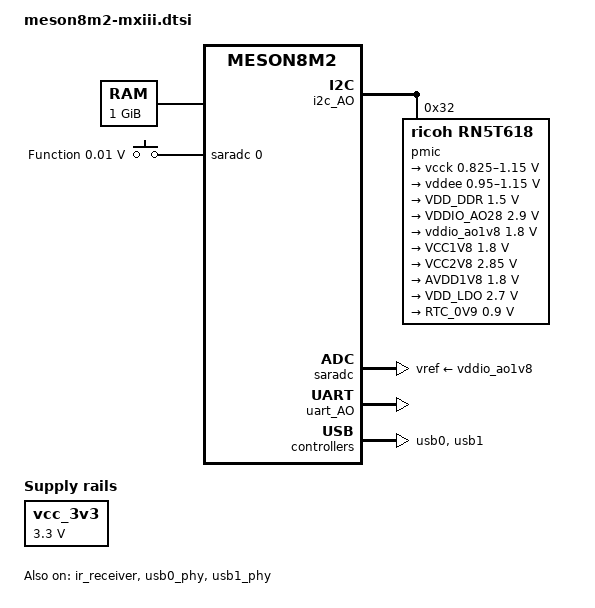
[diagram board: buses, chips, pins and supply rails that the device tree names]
// SPDX-License-Identifier: (GPL-2.0+ OR MIT)
/*
 * Copyright (c) 2018 Oleg Ivanov <balbes-150@yandex.ru>
 * Copyright (c) 2018 Martin Blumenstingl <martin.blumenstingl@googlemail.com>
 */

/dts-v1/;

#include "meson8m2.dtsi"

#include <dt-bindings/gpio/gpio.h>
#include <dt-bindings/input/input.h>

/ {
	aliases {
		ethernet0 = &ethmac;
		i2c0 = &i2c_AO;
		serial0 = &uart_AO;
	};

	chosen {
		stdout-path = "serial0:115200n8";
	};

	memory {
		reg = <0x40000000 0x40000000>;
		device_type = "memory";
	};

	adc-keys {
		compatible = "adc-keys";
		io-channels = <&saradc 0>;
		io-channel-names = "buttons";
		keyup-threshold-microvolt = <1710000>;

		button-function {
			label = "Function";
			linux,code = <KEY_FN>;
			press-threshold-microvolt = <10000>;
		};
	};

	vcc_3v3: regulator-vcc3v3 {
		compatible = "regulator-fixed";
		regulator-name = "VCC3V3";
		regulator-min-microvolt = <3300000>;
		regulator-max-microvolt = <3300000>;
	};
};

&cpu0 {
	cpu-supply = <&vcck>;
};

&ir_receiver {
	status = "okay";
	pinctrl-0 = <&ir_recv_pins>;
	pinctrl-names = "default";
};

&i2c_AO {
	status = "okay";
	pinctrl-0 = <&i2c_ao_pins>;
	pinctrl-names = "default";

	pmic@32 {
		compatible = "ricoh,rn5t618";
		reg = <0x32>;
		system-power-controller;

		regulators {
			vcck: DCDC1 {
				regulator-name = "VCCK";
				regulator-min-microvolt = <825000>;
				regulator-max-microvolt = <1150000>;
				regulator-boot-on;
				regulator-always-on;
			};

			vddee: DCDC2 {
				/* the output is also used as VDDAO */
				regulator-name = "VDD_EE";
				regulator-min-microvolt = <950000>;
				regulator-max-microvolt = <1150000>;
				regulator-boot-on;
				regulator-always-on;
			};

			DCDC3 {
				regulator-name = "VDD_DDR";
				regulator-min-microvolt = <1500000>;
				regulator-max-microvolt = <1500000>;
				regulator-boot-on;
				regulator-always-on;
			};

			LDO1 {
				regulator-name = "VDDIO_AO28";
				regulator-min-microvolt = <2900000>;
				regulator-max-microvolt = <2900000>;
				regulator-boot-on;
				regulator-always-on;
			};

			vddio_ao1v8: LDO2 {
				regulator-name = "VDDIO_AO18";
				regulator-min-microvolt = <1800000>;
				regulator-max-microvolt = <1800000>;
				regulator-boot-on;
				regulator-always-on;
			};

			LDO3 {
				regulator-name = "VCC1V8";
				regulator-min-microvolt = <1800000>;
				regulator-max-microvolt = <1800000>;
				regulator-boot-on;
				regulator-always-on;
			};

			LDO4 {
				regulator-name = "VCC2V8";
				regulator-min-microvolt = <2850000>;
				regulator-max-microvolt = <2850000>;
				regulator-boot-on;
				regulator-always-on;
			};

			LDO5 {
				regulator-name = "AVDD1V8";
				regulator-min-microvolt = <1800000>;
				regulator-max-microvolt = <1800000>;
				regulator-boot-on;
				regulator-always-on;
			};

			LDORTC1 {
				regulator-name = "VDD_LDO";
				regulator-min-microvolt = <2700000>;
				regulator-max-microvolt = <2700000>;
				regulator-boot-on;
				regulator-always-on;
			};

			LDORTC2 {
				regulator-name = "RTC_0V9";
				regulator-min-microvolt = <900000>;
				regulator-max-microvolt = <900000>;
				regulator-boot-on;
				regulator-always-on;
			};
		};
	};
};

&mali {
	mali-supply = <&vddee>;
};

&saradc {
	status = "okay";
	vref-supply = <&vddio_ao1v8>;
};

&uart_AO {
	status = "okay";
	pinctrl-0 = <&uart_ao_a_pins>;
	pinctrl-names = "default";
};

&usb0 {
	status = "okay";
};

&usb1 {
	status = "okay";
};

&usb0_phy {
	status = "okay";
};

&usb1_phy {
	status = "okay";
};
